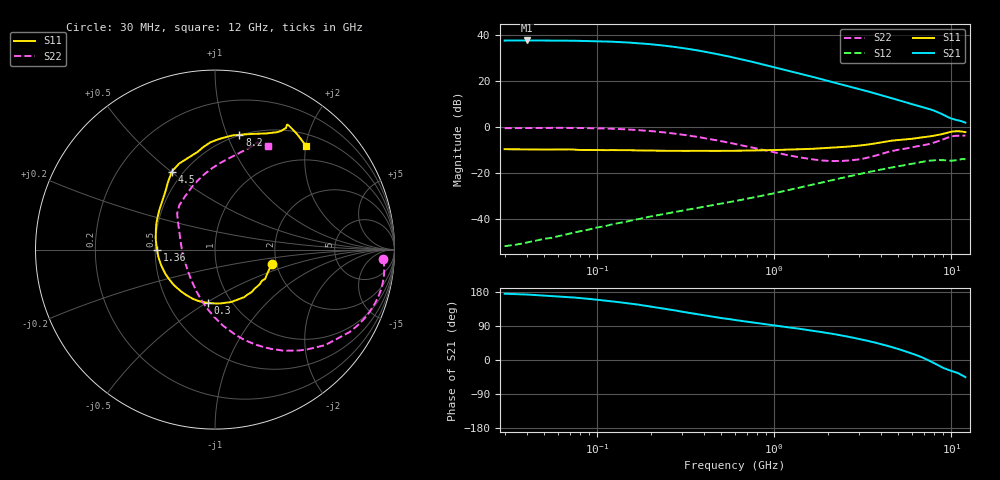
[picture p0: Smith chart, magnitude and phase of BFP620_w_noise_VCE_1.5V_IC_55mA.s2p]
! Infineon Technologies  Discrete & RF Semiconductors
! BFP620
! VCE =  1.5 V,  IC =  55 mA
! Common Emitter S-Parameters:  Nov 2015
# GHz  S  MA  R  50
!  f  S11  S21  S12  S22
! GHz  MAG  ANG  MAG  ANG  MAG  ANG  MAG  ANG
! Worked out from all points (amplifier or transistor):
!   239 points, 30 MHz to 12 GHz, reference 50 ohm
!   highest |S21| = 37.7 dB at 40 MHz (marker M1)
!   |S21| within 3 dB of that: start of sweep to 284.5 MHz
!   unconditionally stable (mu >= 1): 1.9 GHz to end of sweep
!   at 300 MHz: K = 0.50, MSG = 35.5 dB, |S12| = -36.6 dB
!   at 1.88 GHz: K = 1.00, MSG = 22.4 dB, |S12| = -24.2 dB
!   at 12 GHz: K = 1.08, MAG = 6.2 dB, |S12| = -14.1 dB
!   lowest NFmin = 1.59 dB at 450 MHz
!   S11 on the Smith chart (normalised r, x): 30 MHz: 1.89, -0.33; 300 MHz: 0.78, -0.51; 1.36 GHz: 0.51, -0.00; 4.5 GHz: 0.44, +0.50; 8.2 GHz: 0.50, +1.11; 12 GHz: 0.70, +2.00
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0.03  0.3262 -14.0  76.49 174.9  0.0025 98.8  0.9388 -3.3
0.04  0.3223 -18.5  76.92 172.8  0.003 94.3  0.9477 -5.8
0.05  0.3207 -21.5  76.59 169.7  0.0036 90.2  0.9522 -8.5
0.07  0.3234 -30.3  76.21 165.8  0.0047 86.8  0.9517 -13.5
0.085  0.3142 -35.6  75.06 162.4  0.0055 83.2  0.9438 -17.2
0.12  0.3124 -48.4  72.39 155.0  0.0074 78.6  0.9142 -25.2
0.145  0.3099 -56.8  69.78 150.3  0.0085 76.8  0.8853 -30.5
0.17  0.3065 -64.2  66.89 146.2  0.0097 75.0  0.8499 -35.1
0.2  0.3057 -73.0  63.74 140.9  0.0111 73.0  0.8127 -40.9
0.24  0.3013 -83.5  59.14 135.2  0.0126 71.2  0.7575 -47.2
0.3  0.2998 -97.5  52.91 127.6  0.0148 69.0  0.6813 -55.8
0.36  0.3008 -108.7  47.34 121.6  0.0168 67.5  0.6128 -62.9
0.45  0.2997 -122.4  40.38 114.2  0.0197 66.4  0.528 -72.1
0.6  0.3026 -139.0  32.01 105.4  0.0241 65.6  0.4253 -84.1
0.7  0.3045 -147.3  27.93 100.9  0.027 65.3  0.3745 -90.8
0.9  0.3104 -160.4  22.13 94.0  0.0328 64.7  0.3035 -102.6
1.36  0.3233 -179.4  14.92 82.9  0.0466 62.1  0.2197 -125.5
1.64  0.3327 171.8  12.4 77.4  0.0549 59.9  0.1961 -138.6
2.6  0.3717 148.3  7.79 61.6  0.0824 50.6  0.1844 -179.6
4.5  0.4969 118.9  4.322 35.2  0.1282 30.2  0.2918 136.3
8.2  0.6537 78.0  2.166 -11.0  0.1881 -9.9  0.4696 88.9
12  0.7692 48.9  1.237 -45.4  0.1978 -40.4  0.6484 62.9
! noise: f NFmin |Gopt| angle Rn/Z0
0.45  1.59  0.32  -166  0.1
0.9  1.61  0.35  -155  0.11
1.9  1.62  0.38  -139  0.13
2.4  1.63  0.38  -137  0.14
3.5  1.69  0.43  -106  0.25
5.5  1.98  0.45  -85  0.35
10  2.28  0.66  -42  1.31
